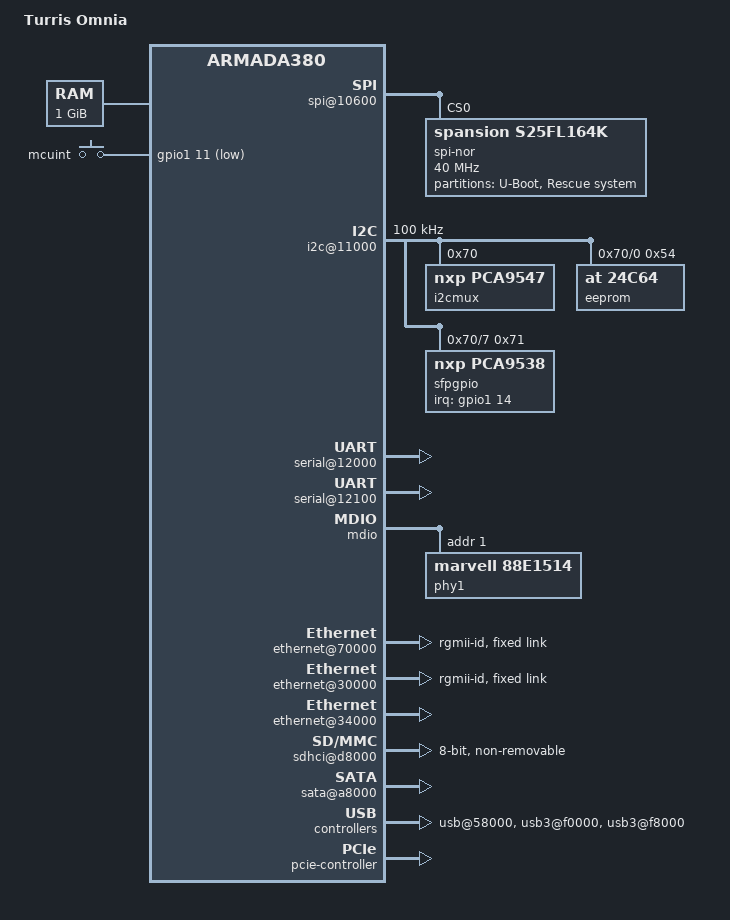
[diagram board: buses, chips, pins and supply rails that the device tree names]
/dts-v1/;

#include <dt-bindings/gpio/gpio.h>
#include <dt-bindings/input/input.h>
#include "armada-385.dtsi"

/ {
	model = "Turris Omnia";
	compatible = "marvell,armada385","marvell,armada380";

	chosen {
		bootargs = "console=ttyS0,115200";
		stdout-path = &uart0;
	};

	memory {
		device_type = "memory";
		reg = <0x00000000 0x40000000>; /* 1024 MB */
	};

	soc {
		ranges = <MBUS_ID(0xf0, 0x01) 0 0xf1000000 0x100000
			  MBUS_ID(0x01, 0x1d) 0 0xfff00000 0x100000
			  MBUS_ID(0x09, 0x19) 0 0xf1100000 0x10000
			  MBUS_ID(0x09, 0x15) 0 0xf1110000 0x10000>;

		internal-regs {
			spi@10600 {
				status = "okay";
				spi-nor@0 {
					compatible = "spansion,s25fl164k", "jedec,spi-nor";
					#address-cells = <1>;
					#size-cells = <1>;
					reg = <0>;
					spi-max-frequency = <40000000>;

					partition@0 {
						reg = <0x0 0x00100000>;
						label = "U-Boot";
					};
					partition@1 {
						reg = <0x00100000 0x00700000>;
						label = "Rescue system";
					};

				};
			};

			i2c@11000 {
				pinctrl-names = "default";
				pinctrl-0 = <&i2c0_pins>;
				status = "okay";
				clock-frequency = <100000>;

				i2cmux@70 {
					compatible = "nxp,pca9547";
					#address-cells = <1>;
					#size-cells = <0>;
					reg = <0x70>;
					status = "okay";
					i2c@0 {
						#address-cells = <1>;
						#size-cells = <0>;
						reg = <0>;
						status = "okay";

						/* Config memory */
						eeprom@54 {
							compatible = "at,24c64";
							reg = <0x54>;
						};

						/* Additional device: STM-32, address 0x2a, INT on 43. */
      					};
					i2c@1 {
						/* SATA */
						#address-cells = <1>;
						#size-cells = <0>;
						reg = <1>;
					};
					i2c@2 {
						/* PCI 1 */
						#address-cells = <1>;
						#size-cells = <0>;
						reg = <2>;
					};
					i2c@3 {
						/* PCI 0 */
						#address-cells = <1>;
						#size-cells = <0>;
						reg = <3>;
					};
					i2c@4 {
						/* SFP */
						#address-cells = <1>;
						#size-cells = <0>;
						reg = <4>;
					};
					i2c@5 {
						/* ATSHA */
						#address-cells = <1>;
						#size-cells = <0>;
						reg = <5>;
      					};
					i2c@6 {
						/* User GPIO header */
						#address-cells = <1>;
						#size-cells = <0>;
						reg = <6>;
      					};

					i2c@7 {
						/* SFP+ GPIO expander */
						#address-cells = <1>;
						#size-cells = <0>;
						reg = <7>;

						sfpgpio: gpio@71 {
							compatible = "nxp,pca9538";
							reg = <0x71>;
							interrupt-parent = <&gpio1>;
							interrupts = <14 IRQ_TYPE_LEVEL_LOW>;
							gpio-controller;
							#gpio-cells = <2>;
						};
					};
				};
			};


			serial@12000 {
				pinctrl-names = "default";
				pinctrl-0 = <&uart0_pins>;
				status = "okay";
			};
			
			serial@12100 {
				pinctrl-names = "default";
				pinctrl-0 = <&uart1_pins>;
				status = "okay";
			};

			mdio: mdio@72004 {
				status = "okay";

				phy1: phy@1 {
					status = "okay";
					compatible = "marvell,88E1514", "marvell,88E1510", "ethernet-phy-ieee802.3-c22";
					reg = <1>;
					/* IRQ connected to MPP46. */
				/*	interrupt-parent = <&gpio1>;
					interrupts = <14 IRQ_TYPE_LEVEL_LOW>; */
				};
			};
 
			ethernet@70000 {
				status = "okay";
				pinctrl-0 = <&ge0_rgmii_pins>;
				phy-mode = "rgmii-id";
				fixed-link {
					speed = <1000>;
					full-duplex;
				};
			};

			ethernet@30000 {
				status = "okay";
				pinctrl-0 = <&ge1_rgmii_pins>;
				phy-mode = "rgmii-id";
				fixed-link {
					speed = <1000>;
					full-duplex;
				};
			};

			ethernet@34000 {
				status = "okay";
 
				phy-def {
					phy-mode = "sgmii";
					phy = <&phy1>;
 				};

				phy-sfp {
					phy-mode = "sgmii";
                                	managed = "1000base-x";
 
					fixed-link {
						speed = <1000>;
						full-duplex;
					};
				};
			};

			sdhci@d8000 {
				status = "okay";
				bus-width = <8>;
				no-1-8-v;
				non-removable;
			};

			sata@a8000 {
				status = "okay";
			};

			/* USB part of the eSATA/USB 2.0 port */
			usb@58000 {
				status = "okay";
			};

			/* 2x external USB3 */
			usb3@f0000 {
				status = "okay";
			};

			usb3@f8000 {
				status = "okay";
			};

		};

		pcie-controller {
			status = "okay";

			pcie@1,0 {
				/* Port 0, Lane 0 */
				status = "okay";
			};

			pcie@2,0 {
				/* Port 2, Lane 0 */
				status = "okay";
			};

			pcie@3,0 {
				/* Port 3, Lane 0 */
				status = "okay";
			};

		};
	};

	mvsw61xx {
		status = "okay";
		compatible = "marvell,88e6176";
		reg = <0x10>;
		is-indirect;
		mii-bus = <&mdio>;
		cpu-port-0 = <5>;
		cpu-port-1 = <6>;

		/* IRQ connected to MPP45. */
	/*	interrupt-parent = <&gpio1>;
		interrupts = <13 IRQ_TYPE_LEVEL_LOW>; */
	};

        gpio-keys {
                compatible = "gpio-keys";
                #address-cells = <1>;
                #size-cells = <0>;

                button@212 {
                        label = "mcuint";
                        linux,code = <BTN_MISC>;
			gpios = <&gpio1 11 GPIO_ACTIVE_LOW>;
			debounce-interval = <0>;
                };
        };
};

&pinctrl {
	user_pin: user-pin {
		marvell,pins = "mpp18", "mpp33", "mpp34", "mpp35", "mpp36",
				"mpp42", "mpp44", "mpp47", "mpp51", "mpp56";
		marvell,function = "gpio";
	};
};

